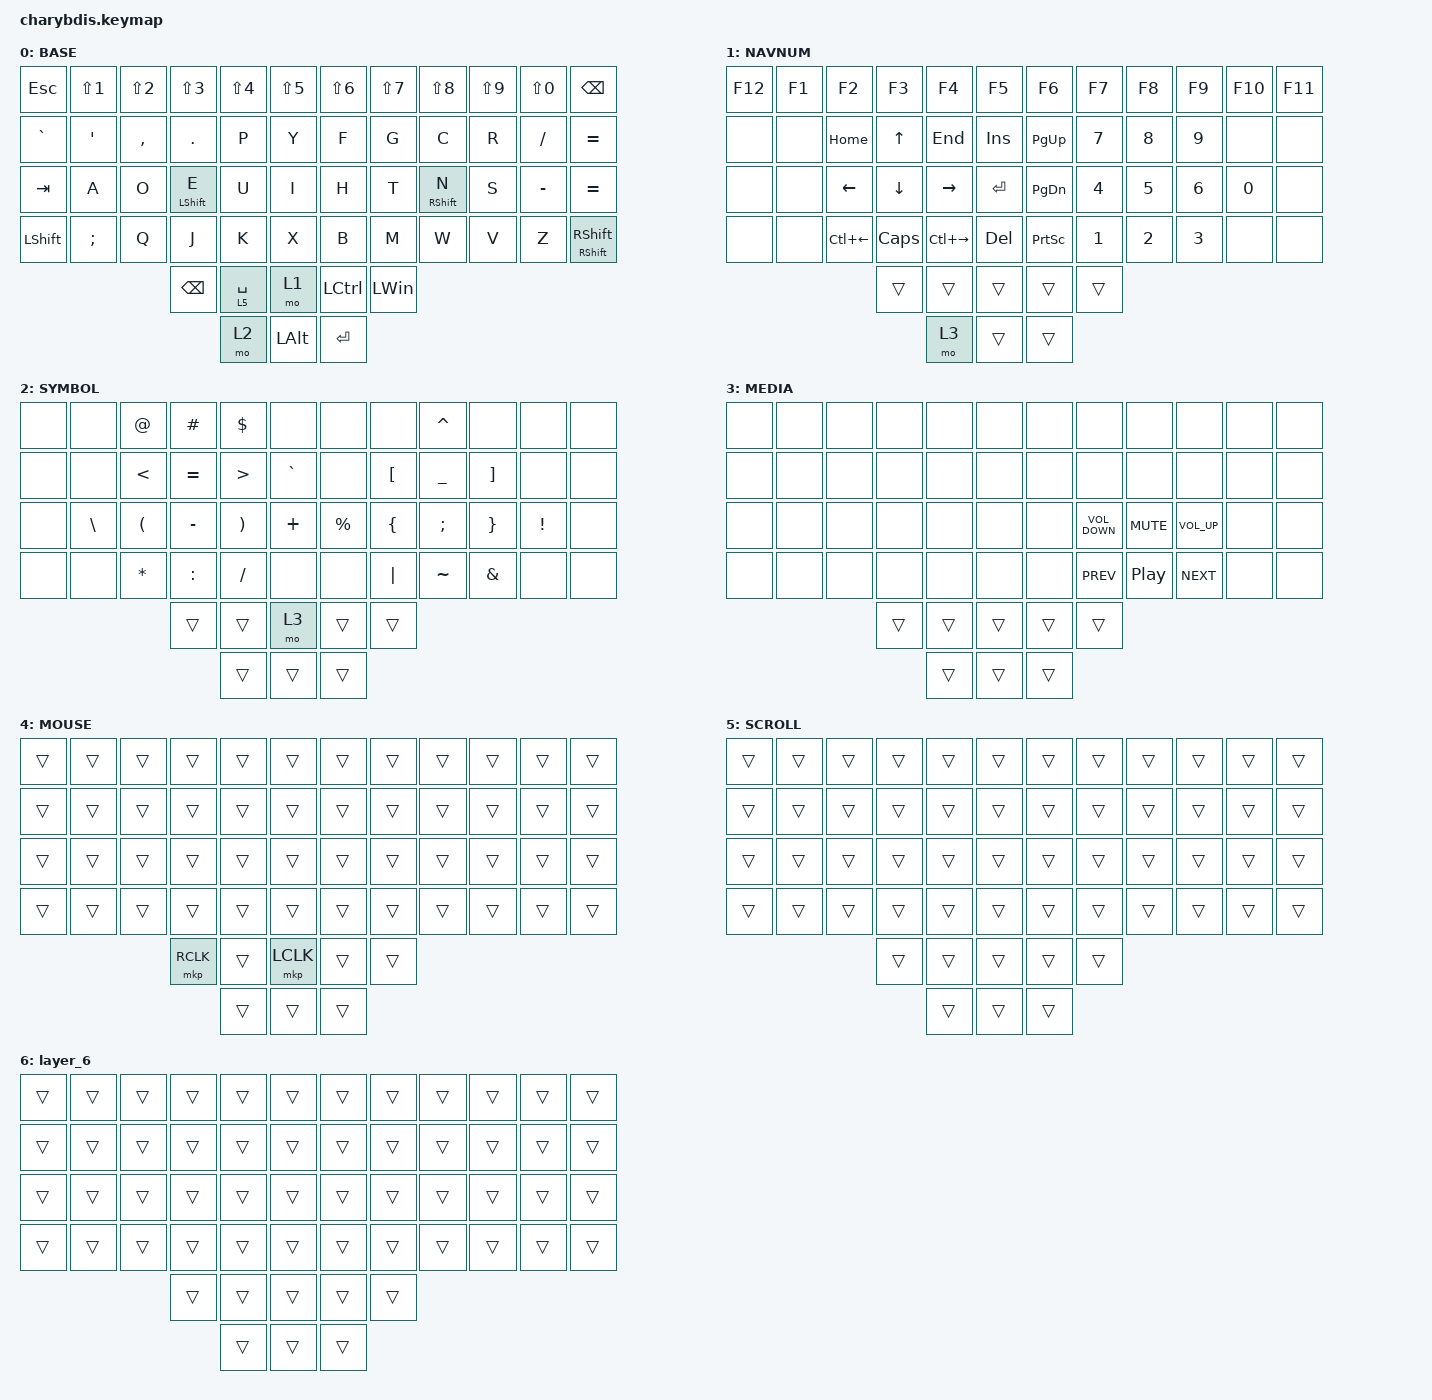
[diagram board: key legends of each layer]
#include <behaviors.dtsi>
#include <dt-bindings/zmk/keys.h>
#include <dt-bindings/zmk/pointing.h>

#define BASE 0
#define NAVNUM 1
#define SYMBOL 2
#define MEDIA 3
#define MOUSE 4
#define SCROLL 5
#define KEYS_L 0 1 2 3 4 10 11 12 13 14 20 21 22 23 24
#define KEYS_R 5 6 7 8 9 15 16 17 18 19 25 26 27 28 29
#define THUMBS 30 31 32 33 34 35
#define U_TAPPING_TERM 200

&sk {
    release-after-ms = <600>;
    quick-release;
};

&sl { ignore-modifiers; };

&mt { flavor = "tap-preferred"; };

&lt {
    flavor = "balanced";
    tapping-term-ms = <200>;
    quick-tap-ms = <175>;
};

&caps_word { /delete-property/ ignore-modifiers; };

/ {
    behaviors {
        u_mt: u_mt {
            compatible = "zmk,behavior-hold-tap";
            label = "u_mt";
            #binding-cells = <2>;
            tapping_term_ms = <U_TAPPING_TERM>;
            flavor = "tap-preferred";
            bindings = <&kp>, <&kp>;
        };

        u_lt: u_lt {
            compatible = "zmk,behavior-hold-tap";
            label = "u_lt";
            #binding-cells = <2>;
            tapping_term_ms = <U_TAPPING_TERM>;
            flavor = "tap-preferred";
            bindings = <&mo>, <&kp>;
        };

        Shift_Enter: Shift_Enter {
            compatible = "zmk,behavior-hold-tap";
            label = "SHIFT_ENTER";
            bindings = <&kp>, <&kp>;

            #binding-cells = <2>;
            hold-trigger-key-positions = <40>;
            tapping-term-ms = <100>;
        };

        hml: hml {
            compatible = "zmk,behavior-hold-tap";
            #binding-cells = <2>;
            flavor = "balanced";
            tapping-term-ms = <2000>;
            quick-tap-ms = <175>;
            require-prior-idle-ms = <250>;
            hold-trigger-key-positions = <KEYS_R THUMBS>;
            hold-trigger-on-release;
            bindings = <&kp>, <&kp>;
        };

        hmr: hmr {
            compatible = "zmk,behavior-hold-tap";
            #binding-cells = <2>;
            flavor = "balanced";
            tapping-term-ms = <2000>;
            quick-tap-ms = <175>;
            require-prior-idle-ms = <250>;
            hold-trigger-key-positions = <KEYS_L THUMBS>;
            hold-trigger-on-release;
            bindings = <&kp>, <&kp>;
        };

        hml_s: hml_s {
            compatible = "zmk,behavior-hold-tap";
            #binding-cells = <2>;
            flavor = "balanced";
            tapping-term-ms = <2000>;
            quick-tap-ms = <175>;
            require-prior-idle-ms = <0>;
            hold-trigger-key-positions = <KEYS_R THUMBS>;
            hold-trigger-on-release;
            bindings = <&kp>, <&kp>;
        };

        hmr_s: hmr_s {
            compatible = "zmk,behavior-hold-tap";
            #binding-cells = <2>;
            flavor = "balanced";
            tapping-term-ms = <2000>;
            quick-tap-ms = <175>;
            require-prior-idle-ms = <0>;
            hold-trigger-key-positions = <KEYS_L THUMBS>;
            hold-trigger-on-release;
            bindings = <&kp>, <&kp>;
        };

        smart_shift: smart_shift {
            compatible = "zmk,behavior-mod-morph";
            #binding-cells = <0>;
            bindings = <&sk LSHIFT>, <&caps_word>;

            mods = <(MOD_LSFT)>;
        };
    };

    combos {
        compatible = "zmk,combos";

        LeftClickRight {
            bindings = <&mkp LCLK>;
            key-positions = <19 20>;
        };

        RightClickRight {
            bindings = <&mkp RCLK>;
            key-positions = <20 21>;
        };

        MiddleClickRight {
            bindings = <&mkp MCLK>;
            key-positions = <21 22>;
        };

        ParaLeft {
            bindings = <&kp LEFT_PARENTHESIS>;
            key-positions = <4 16>;
        };

        ParaRight {
            bindings = <&kp RIGHT_PARENTHESIS>;
            key-positions = <7 19>;
        };

        BrakLeft {
            bindings = <&kp LEFT_BRACKET>;
            key-positions = <3 15>;
        };

        BrakRight {
            bindings = <&kp RIGHT_BRACKET>;
            key-positions = <8 20>;
        };

        BraceLeft {
            bindings = <&kp LEFT_BRACE>;
            key-positions = <2 14>;
        };

        BraceRight {
            bindings = <&kp RIGHT_BRACE>;
            key-positions = <9 21>;
        };

        Delete {
            bindings = <&kp DELETE>;
            key-positions = <8 9>;
        };

        CapsWord {
            bindings = <&caps_word>;
            key-positions = <27 28 31 32>;
        };

        MiddleClick {
            bindings = <&mkp MCLK>;
            key-positions = <49 52>;
        };
    };

    chosen { zmk,physical-layout = &charybdis_6col_layout; };

    macros {
        new_macro: new_macro {
            compatible = "zmk,behavior-macro";
            #binding-cells = <0>;
            bindings = <&none>;
            label = "NEW_MACRO";
        };
    };

    keymap {
        compatible = "zmk,keymap";

        BASE {
            display-name = "BASE";
            bindings = <
&kp ESC         &kp LS(NUMBER_1)  &kp LS(N2)  &kp LS(N3)          &kp LS(N4)     &kp LS(N5)      &kp LS(N6)  &kp LS(N7)    &kp LS(N8)           &kp LS(N9)  &kp LS(N0)  &kp BACKSPACE
&kp GRAVE       &kp SQT           &kp COMMA   &kp PERIOD          &kp P          &kp Y           &kp F       &kp G         &kp C                &kp R       &kp SLASH   &kp EQUAL
&kp TAB         &kp A             &kp O       &u_mt LEFT_SHIFT E  &kp U          &kp I           &kp H       &kp T         &u_mt RIGHT_SHIFT N  &kp S       &kp MINUS   &kp EQUAL
&kp LEFT_SHIFT  &kp SEMICOLON     &kp Q       &kp J               &kp K          &kp X           &kp B       &kp M         &kp W                &kp V       &kp Z       &u_mt RIGHT_SHIFT RIGHT_SHIFT
                                              &kp BACKSPACE       &u_lt 5 SPACE  &mo 1           &kp LCTRL   &kp LEFT_WIN
                                                                  &mo 2          &kp LEFT_ALT    &kp ENTER
            >;
        };

        NAVNUM {
            display-name = "NAVNUM";
            bindings = <
&kp F12  &kp F1  &kp F2        &kp F3        &kp F4         &kp F5        &kp F6           &kp F7        &kp F8        &kp F9        &kp F10       &kp F11
&none    &none   &kp HOME      &kp UP        &kp END        &kp INSERT    &kp PAGE_UP      &kp NUMBER_7  &kp NUMBER_8  &kp NUMBER_9  &none         &none
&none    &none   &kp LEFT      &kp DOWN      &kp RIGHT      &kp ENTER     &kp PAGE_DOWN    &kp NUMBER_4  &kp NUMBER_5  &kp NUMBER_6  &kp NUMBER_0  &none
&none    &none   &kp LC(LEFT)  &kp CAPSLOCK  &kp LC(RIGHT)  &kp DELETE    &kp PRINTSCREEN  &kp NUMBER_1  &kp NUMBER_2  &kp NUMBER_3  &none         &none
                               &trans        &trans         &trans        &trans           &trans
                                             &mo 3          &trans        &trans
            >;
        };

        SYMBOL {
            display-name = "SYMBOL";
            bindings = <
&none  &none          &kp AT_SIGN           &kp HASH   &kp DOLLAR             &none        &none        &none             &kp CARET       &none              &none            &none
&none  &none          &kp LESS_THAN         &kp EQUAL  &kp GREATER_THAN       &kp GRAVE    &none        &kp LEFT_BRACKET  &kp UNDERSCORE  &kp RIGHT_BRACKET  &none            &none
&none  &kp BACKSLASH  &kp LEFT_PARENTHESIS  &kp MINUS  &kp RIGHT_PARENTHESIS  &kp PLUS     &kp PERCENT  &kp LEFT_BRACE    &kp SEMICOLON   &kp RIGHT_BRACE    &kp EXCLAMATION  &none
&none  &none          &kp ASTERISK          &kp COLON  &kp SLASH              &none        &none        &kp PIPE          &kp TILDE       &kp AMPERSAND      &none            &none
                                            &trans     &trans                 &mo 3        &trans       &trans
                                                       &trans                 &trans       &trans
            >;
        };

        MEDIA {
            display-name = "MEDIA";
            bindings = <
&none  &none  &none  &none   &none   &none     &none   &none              &none             &none            &none  &none
&none  &none  &none  &none   &none   &none     &none   &none              &none             &none            &none  &none
&none  &none  &none  &none   &none   &none     &none   &kp C_VOLUME_DOWN  &kp C_MUTE        &kp C_VOLUME_UP  &none  &none
&none  &none  &none  &none   &none   &none     &none   &kp C_PREV         &kp C_PLAY_PAUSE  &kp C_NEXT       &none  &none
                     &trans  &trans  &trans    &trans  &trans
                             &trans  &trans    &trans
            >;
        };

        MOUSE {
            display-name = "MOUSE";
            bindings = <
&trans  &trans  &trans  &trans     &trans  &trans       &trans  &trans  &trans  &trans  &trans  &trans
&trans  &trans  &trans  &trans     &trans  &trans       &trans  &trans  &trans  &trans  &trans  &trans
&trans  &trans  &trans  &trans     &trans  &trans       &trans  &trans  &trans  &trans  &trans  &trans
&trans  &trans  &trans  &trans     &trans  &trans       &trans  &trans  &trans  &trans  &trans  &trans
                        &mkp RCLK  &trans  &mkp LCLK    &trans  &trans
                                   &trans  &trans       &trans
            >;
        };

        SCROLL {
            display-name = "SCROLL";
            bindings = <
&trans  &trans  &trans  &trans  &trans  &trans    &trans  &trans  &trans  &trans  &trans  &trans
&trans  &trans  &trans  &trans  &trans  &trans    &trans  &trans  &trans  &trans  &trans  &trans
&trans  &trans  &trans  &trans  &trans  &trans    &trans  &trans  &trans  &trans  &trans  &trans
&trans  &trans  &trans  &trans  &trans  &trans    &trans  &trans  &trans  &trans  &trans  &trans
                        &trans  &trans  &trans    &trans  &trans
                                &trans  &trans    &trans
            >;
        };

        layer_6 {
            bindings = <
&trans  &trans  &trans  &trans  &trans  &trans    &trans  &trans  &trans  &trans  &trans  &trans
&trans  &trans  &trans  &trans  &trans  &trans    &trans  &trans  &trans  &trans  &trans  &trans
&trans  &trans  &trans  &trans  &trans  &trans    &trans  &trans  &trans  &trans  &trans  &trans
&trans  &trans  &trans  &trans  &trans  &trans    &trans  &trans  &trans  &trans  &trans  &trans
                        &trans  &trans  &trans    &trans  &trans
                                &trans  &trans    &trans
            >;
        };
    };
};
